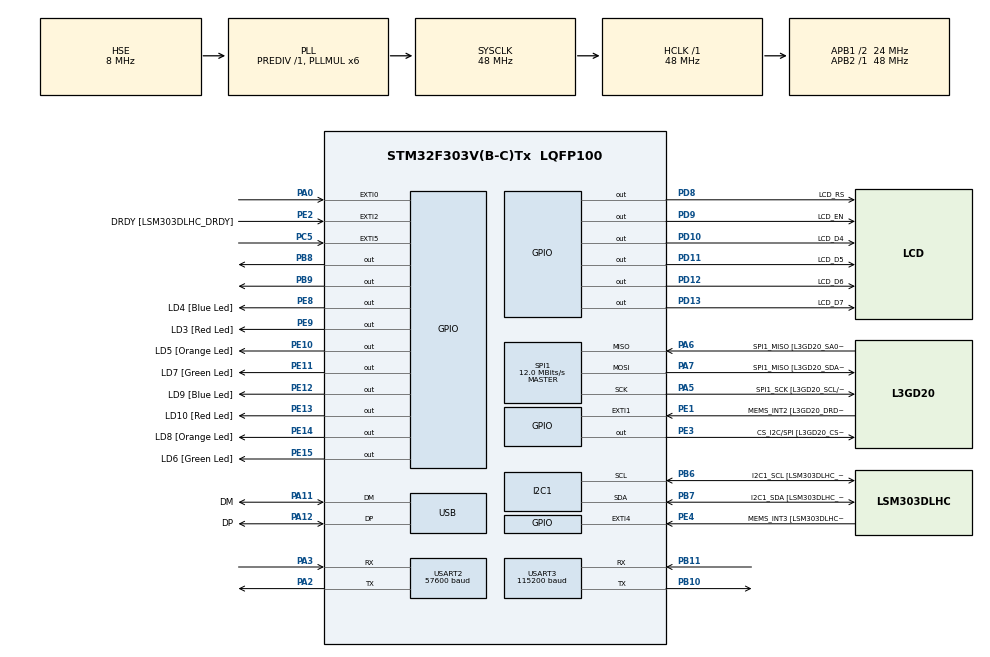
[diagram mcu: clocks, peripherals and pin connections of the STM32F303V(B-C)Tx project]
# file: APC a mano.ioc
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I2C1.Timing=0x00201D2B
I2C1.Timing-I2C=0x2000090E
Mcu.Family=STM32F3
Mcu.Name=STM32F303V(B-C)Tx
Mcu.Package=LQFP100
NVIC.EXTI0_IRQn=true\:0\:0\:false\:false\:true\:true\:true\:true
NVIC.EXTI9_5_IRQn=true\:0\:0\:false\:false\:true\:true\:true\:true
NVIC.PriorityGroup=NVIC_PRIORITYGROUP_0
NVIC.USART2_IRQn=true\:0\:0\:false\:false\:true\:true\:true\:true
NVIC.USART3_IRQn=true\:0\:0\:false\:false\:true\:true\:true\:true
PA0.GPIO_ModeDefaultEXTI=GPIO_MODE_IT_RISING
PA0.Signal=GPXTI0
PA11.GPIO_Label=DM
PA11.Mode=Device
PA11.Signal=USB_DM
PA12.GPIO_Label=DP
PA12.Mode=Device
PA12.Signal=USB_DP
PA13.GPIO_Label=SWDIO
PA13.Mode=Serial_Wire
PA13.Signal=SYS_JTMS-SWDIO
PA14.GPIO_Label=SWCLK
PA14.Mode=Serial_Wire
PA14.Signal=SYS_JTCK-SWCLK
PA2.Mode=Asynchronous
PA2.Signal=USART2_TX
PA3.Mode=Asynchronous
PA3.Signal=USART2_RX
PA5.GPIO_Label=SPI1_SCK [L3GD20_SCL/SPC]
PA5.Mode=Full_Duplex_Master
PA5.Signal=SPI1_SCK
PA6.GPIO_Label=SPI1_MISO [L3GD20_SA0/SDO]
PA6.Mode=Full_Duplex_Master
PA6.Signal=SPI1_MISO
PA7.GPIO_Label=SPI1_MISO [L3GD20_SDA/SDI/SDO]
PA7.Mode=Full_Duplex_Master
PA7.Signal=SPI1_MOSI
PB10.Mode=Asynchronous
PB10.Signal=USART3_TX
PB11.Mode=Asynchronous
PB11.Signal=USART3_RX
PB3.GPIO_Label=SWO
PB3.Signal=SYS_JTDO-TRACESWO
PB6.GPIO_Label=I2C1_SCL [LSM303DLHC_SCL]
PB6.GPIO_Pu=GPIO_PULLUP
PB6.Mode=I2C
PB6.Signal=I2C1_SCL
PB7.GPIO_Label=I2C1_SDA [LSM303DLHC_SDA]
PB7.GPIO_Pu=GPIO_PULLUP
PB7.Mode=I2C
PB7.Signal=I2C1_SDA
PB8.Signal=GPIO_Output
PB9.Signal=GPIO_Output
PC14-OSC32_IN.GPIO_Label=OSC32_IN
PC14-OSC32_IN.Signal=RCC_OSC32_IN
PC15-OSC32_OUT.GPIO_Label=OSC32_OUT
PC15-OSC32_OUT.Signal=RCC_OSC32_OUT
PC5.GPIO_ModeDefaultEXTI=GPIO_MODE_IT_RISING
PC5.GPIO_PuPd=GPIO_PULLDOWN
PC5.Signal=GPXTI5
PD10.GPIO_Label=LCD_D4
PD10.Signal=GPIO_Output
PD11.GPIO_Label=LCD_D5
PD11.Signal=GPIO_Output
PD12.GPIO_Label=LCD_D6
PD12.Signal=GPIO_Output
PD13.GPIO_Label=LCD_D7
PD13.Signal=GPIO_Output
PD8.GPIO_Label=LCD_RS
PD8.Signal=GPIO_Output
PD9.GPIO_Label=LCD_EN
PD9.Signal=GPIO_Output
PE1.GPIO_Label=MEMS_INT2 [L3GD20_DRDY/INT2]
PE1.GPIO_ModeDefaultEXTI=GPIO_MODE_EVT_RISING
PE1.Signal=GPXTI1
PE10.GPIO_Label=LD5 [Orange Led]
PE10.Signal=GPIO_Output
PE11.GPIO_Label=LD7 [Green Led]
PE11.Signal=GPIO_Output
PE12.GPIO_Label=LD9 [Blue Led]
PE12.Signal=GPIO_Output
PE13.GPIO_Label=LD10 [Red Led]
PE13.Signal=GPIO_Output
PE14.GPIO_Label=LD8 [Orange Led]
PE14.Signal=GPIO_Output
PE15.GPIO_Label=LD6 [Green Led]
PE15.Signal=GPIO_Output
PE2.GPIO_Label=DRDY [LSM303DLHC_DRDY]
PE2.GPIO_ModeDefaultEXTI=GPIO_MODE_EVT_RISING
PE2.Signal=GPXTI2
PE3.GPIO_Label=CS_I2C/SPI [L3GD20_CS_I2C/SPI]
PE3.Signal=GPIO_Output
PE4.GPIO_Label=MEMS_INT3 [LSM303DLHC_INT1]
PE4.GPIO_ModeDefaultEXTI=GPIO_MODE_EVT_RISING
PE4.Signal=GPXTI4
PE8.GPIO_Label=LD4 [Blue Led]
PE8.Signal=GPIO_Output
PE9.GPIO_Label=LD3 [Red Led]
PE9.Signal=GPIO_Output
PF0-OSC_IN.GPIO_Label=OSC_IN
PF0-OSC_IN.Mode=HSE-External-Clock-Source
PF0-OSC_IN.Signal=RCC_OSC_IN
PF1-OSC_OUT.GPIO_Label=OSC_OUT
PF1-OSC_OUT.Signal=RCC_OSC_OUT
ProjectManager.HeapSize=0x200
ProjectManager.StackSize=0x400
ProjectManager.TargetToolchain=STM32CubeIDE
RCC.AHBFreq_Value=48000000
RCC.APB1CLKDivider=RCC_HCLK_DIV2
RCC.APB1Freq_Value=24000000
RCC.APB1TimFreq_Value=48000000
RCC.APB2Freq_Value=48000000
RCC.APB2TimFreq_Value=48000000
RCC.CortexFreq_Value=48000000
RCC.HCLKFreq_Value=48000000
RCC.HSE_VALUE=8000000
RCC.HSI_VALUE=8000000
RCC.LSE_VALUE=32768
RCC.PLLMUL=RCC_PLL_MUL6
RCC.SYSCLKFreq_VALUE=48000000
RCC.SYSCLKSourceVirtual=RCC_SYSCLKSOURCE_PLLCLK
RCC.USBFreq_Value=48000000
SPI1.BaudRatePrescaler=SPI_BAUDRATEPRESCALER_4
SPI1.BaudRatePrescaler-Full_Duplex_Master=SPI_BAUDRATEPRESCALER_2
SPI1.CalculateBaudRate=12.0 MBits/s
SPI1.CalculateBaudRate-Full_Duplex_Master=24.0 MBits/s
SPI1.Direction=SPI_DIRECTION_2LINES
SPI1.Mode=SPI_MODE_MASTER
SPI1.Mode-Full_Duplex_Master=SPI_MODE_MASTER
SPI1.VirtualType=VM_MASTER
USART2.BaudRate=57600
USART2.VirtualMode-Asynchronous=VM_ASYNC
USART3.BaudRate=115200
USART3.VirtualMode-Asynchronous=VM_ASYNC
board=STM32F3DISCOVERY

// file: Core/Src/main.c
/* USER CODE BEGIN Header */
/**
  ******************************************************************************
  * @file    main.c
  * @brief   Smart Lock — STM32F3Discovery
  *          AS608  : USART2  PA2=TX  PA3=RX   57600 baud + EXTI5 su PC5
  *          ESP32  : USART3  PB10=TX PB11=RX 115200 baud (ricezione IT)
  *          LCD    : 4-bit parallelo GPIOD  PD8=RS PD9=EN PD10-PD13=D4-D7
  *          Buzzer : PB8
  *          Serratura: PB9 — HIGH=aperto (2 s) LOW=chiuso
  *          LED    : LD7 verde (PE11) · LD3 rosso (PE9)
  ******************************************************************************
  * Copyright (c) 2026 STMicroelectronics. All rights reserved.
  * This software is licensed under terms found in the LICENSE file.
  ******************************************************************************
  */
/* USER CODE END Header */

#include "main.h"

/* USER CODE BEGIN Includes */
#include "lcd.h"      /* driver LCD 4-bit parallelo GPIOD */
#include "as608.h"    /* driver lettore impronta AS608    */
#include <string.h>
#include <stdio.h>
/* USER CODE END Includes */

/* USER CODE BEGIN PTD */
typedef enum {
    S_STANDBY,      /* attesa eventi: TCH (PC5) o pulsante (PA0) */
    S_IDENTIFY,     /* scansione impronta con AS608               */
    S_WAIT_ESP,     /* attesa risposta AUTH_RESULT da ESP32       */
    S_RESULT_OK,    /* accesso concesso — LED verde + buzz lungo  */
    S_RESULT_FAIL,  /* accesso negato   — LED rosso + 3 bip       */
    S_ENROLL,       /* registrazione guidata nuova impronta       */
} AppState;
/* USER CODE END PTD */

I2C_HandleTypeDef hi2c1;
SPI_HandleTypeDef hspi1;
UART_HandleTypeDef huart2;
UART_HandleTypeDef huart3;
PCD_HandleTypeDef hpcd_USB_FS;

/* USER CODE BEGIN PV */

static AppState appState = S_STANDBY;

/* ── Flag interrupt ─────────────────────────────────────────────────────────
 * Scritti nelle ISR (HAL_GPIO_EXTI_Callback), letti nel loop principale.
 * Dichiarati volatile per impedire ottimizzazioni del compilatore.         */
static volatile uint8_t flagFinger = 0;   /* PC5 TCH — dito rilevato       */
static volatile uint8_t flagButton = 0;   /* PA0     — pulsante blu premuto */

/* ── UART3 ricezione asincrona (ESP32 → STM32) ─────────────────────────── */
#define RX3_LEN   64
static uint8_t          rx3Byte;               /* buffer singolo byte IT     */
static char             rx3Buf[RX3_LEN];       /* riga accumulata            */
static uint8_t          rx3Idx   = 0;          /* indice di scrittura        */
static volatile uint8_t rx3Ready = 0;          /* flag: riga completa pronta */
static uint32_t         espTimer = 0;          /* timestamp avvio timeout    */

/* ── Ultimo ID identificato ─────────────────────────────────────────────── */
static uint8_t lastFid = 0;

/* ── Macro LED e Buzzer ─────────────────────────────────────────────────── */
#define LED_GREEN   LD7_Pin      /* PE11 — LD7 verde  */
#define LED_RED     LD3_Pin      /* PE9  — LD3 rosso  */
#define LED_PORT    GPIOE
#define BUZ_PIN     GPIO_PIN_8   /* PB8               */
#define BUZ_PORT    GPIOB
#define LOCK_PIN    GPIO_PIN_9   /* PB9 — serratura   */
#define LOCK_PORT   GPIOB        /* HIGH=aperto LOW=chiuso */

/* USER CODE END PV */

void SystemClock_Config(void);
static void MX_GPIO_Init(void);
static void MX_I2C1_Init(void);
static void MX_SPI1_Init(void);
static void MX_USB_PCD_Init(void);
static void MX_USART2_UART_Init(void);
static void MX_USART3_UART_Init(void);

/* USER CODE BEGIN PFP */
static void LED_Set(uint16_t pin, uint8_t on);
static void LED_OffAll(void);
static void Buzz(uint32_t ms);
static void BuzzBoot(void);
static void BuzzOK(void);
static void BuzzFail(void);
static void BuzzConfirm(void);
static void ShowLCD(const char* l1, const char* l2);
static void SendESP(const char* msg);
static void RunEnroll(void);
/* USER CODE END PFP */

/* USER CODE BEGIN 0 */

/* ── Callback EXTI ─────────────────────────────────────────────────────────
 * Gestisce i rising-edge di PC5 (TCH) e PA0 (pulsante).
 * Setta solo il flag — nessuna logica applicativa nell'ISR.                */
void HAL_GPIO_EXTI_Callback(uint16_t GPIO_Pin) {
    if (GPIO_Pin == GPIO_PIN_5) flagFinger = 1;   /* TCH AS608     */
    if (GPIO_Pin == GPIO_PIN_0) flagButton = 1;   /* pulsante PA0  */
}

/* ── Callback UART3 (ESP32 → STM32) ────────────────────────────────────────
 * Riceve un byte alla volta e assembla la riga fino a '\n'.
 * rx3Ready = 1 segnala che rx3Buf contiene una riga completa.
 * La callback si riarma immediatamente dopo ogni byte.                     */
void HAL_UART_RxCpltCallback(UART_HandleTypeDef* h) {
    if (h->Instance == USART3) {
        char c = (char)rx3Byte;
        if (c == '\n') {
            rx3Buf[rx3Idx] = '\0';
            if (rx3Idx > 0) rx3Ready = 1;
            rx3Idx = 0;
        } else if (c != '\r' && rx3Idx < RX3_LEN - 1) {
            rx3Buf[rx3Idx++] = c;
        }
        HAL_UART_Receive_IT(&huart3, &rx3Byte, 1);
    }
}

/* ── Primitivi LED e Buzzer ─────────────────────────────────────────────── */

static void LED_Set(uint16_t pin, uint8_t on) {
    HAL_GPIO_WritePin(LED_PORT, pin, on ? GPIO_PIN_SET : GPIO_PIN_RESET);
}
static void LED_OffAll(void) {
    LED_Set(LED_GREEN, 0);
    LED_Set(LED_RED,   0);
}
static void Buzz(uint32_t ms) {
    HAL_GPIO_WritePin(BUZ_PORT, BUZ_PIN, GPIO_PIN_SET);
    HAL_Delay(ms);
    HAL_GPIO_WritePin(BUZ_PORT, BUZ_PIN, GPIO_PIN_RESET);
}

/* Pattern buzzer:
 *   BuzzBoot    — 1 bip medio (200 ms)     : sistema pronto
 *   BuzzOK      — 1 bip lungo (500 ms)     : accesso concesso
 *   BuzzFail    — 3 bip rapidi (100 ms)    : accesso negato / errore
 *   BuzzConfirm — 1 bip breve (80 ms)      : conferma acquisizione immagine */
static void BuzzBoot(void)    { Buzz(200); }
static void BuzzOK(void)      { Buzz(500); }
static void BuzzFail(void)    { Buzz(100); HAL_Delay(80); Buzz(100); HAL_Delay(80); Buzz(100); }
static void BuzzConfirm(void) { Buzz(80);  }

/* ── Serratura ──────────────────────────────────────────────────────────── */
static void Lock_Open(void)  { HAL_GPIO_WritePin(LOCK_PORT, LOCK_PIN, GPIO_PIN_SET);   }
static void Lock_Close(void) { HAL_GPIO_WritePin(LOCK_PORT, LOCK_PIN, GPIO_PIN_RESET); }

/* ── Helper LCD ─────────────────────────────────────────────────────────── */
static void ShowLCD(const char* l1, const char* l2) {
    LCD_Clear();
    LCD_SetCursor(0, 0); LCD_Print(l1);
    LCD_SetCursor(0, 1); LCD_Print(l2);
}

/* ── Helper UART3 (invio verso ESP32) ──────────────────────────────────── */
static void SendESP(const char* msg) {
    char buf[80];
    uint16_t n = (uint16_t)snprintf(buf, sizeof(buf), "%s\r\n", msg);
    HAL_UART_Transmit(&huart3, (uint8_t*)buf, n, 1000);
}

/* ────────────────────────────────────────────────────────────────────────────
 * RunEnroll — procedura guidata di registrazione impronta
 *
 * Cerca prima il primo slot libero tramite AS608_FindFreeSlot(), che usa
 * LoadChar per sondare la libreria senza affidarsi a un contatore RAM.
 * Parte da slot 1 per evitare ID 0 non gestito dall'ESP32.
 *
 * Flusso:
 *   FindFreeSlot → GetImage → GenChar(1) → [dito tolto]
 *   → GetImage → GenChar(2) → RegModel → StoreChar(slot)
 * ───────────────────────────────────────────────────────────────────────── */
static void RunEnroll(void) {

    /* ── Cerca il primo slot libero nella libreria AS608 ── */
    ShowLCD("Ricerca slot.. ", "               ");
    int8_t freeSlot = AS608_FindFreeSlot();

    if (freeSlot < 0) {
        ShowLCD("DB Pieno!      ", "Max 127 impr.  ");
        BuzzFail();
        HAL_Delay(2000);
        return;
    }

    uint8_t  slot = (uint8_t)freeSlot;
    char     line[17];
    uint32_t t0;

    /* ── Passo 1: prima acquisizione ──────────────────────── */
    ShowLCD("Nuova Impronta ", "Appoggia dito  ");

    t0 = HAL_GetTick();
    while (!AS608_IsFingerPresent()) {
        if (HAL_GetTick() - t0 > 10000) goto enroll_timeout;
        HAL_Delay(100);
    }
    if (AS608_GetImage()               != AS608_OK) goto enroll_error;
    if (AS608_GenChar(AS608_CHARBUF_1) != AS608_OK) goto enroll_error;
    BuzzConfirm();

    /* ── Passo 2: rimozione dito ──────────────────────────── */
    ShowLCD("Togli il dito  ", "               ");
    while (AS608_IsFingerPresent()) HAL_Delay(100);
    HAL_Delay(500);   /* debounce meccanico */

    /* ── Passo 3: seconda acquisizione ───────────────────── */
    ShowLCD("Appoggia        ", "di nuovo       ");

    t0 = HAL_GetTick();
    while (!AS608_IsFingerPresent()) {
        if (HAL_GetTick() - t0 > 10000) goto enroll_timeout;
        HAL_Delay(100);
    }
    if (AS608_GetImage()               != AS608_OK) goto enroll_error;
    if (AS608_GenChar(AS608_CHARBUF_2) != AS608_OK) goto enroll_error;
    BuzzConfirm();

    /* ── Passo 4: genera modello e salva ─────────────────── */
    if (AS608_RegModel()      != AS608_OK) goto enroll_error;
    if (AS608_StoreChar(slot) != AS608_OK) goto enroll_error;

    /* ── Successo ─────────────────────────────────────────── */
    snprintf(line, sizeof(line), "Salvata ID: %d  ", slot);
    ShowLCD("Impronta OK!   ", line);
    BuzzOK();
    HAL_Delay(2000);
    return;

enroll_error:
    ShowLCD("Errore Registr.", "               ");
    BuzzFail();
    HAL_Delay(2000);
    return;

enroll_timeout:
    ShowLCD("Timeout        ", "Operaz. annull.");
    BuzzFail();
    HAL_Delay(2000);
}

/* USER CODE END 0 */

/* ============================================================================
 * main() — entry point
 * ========================================================================== */
int main(void)
{

  HAL_Init();

  SystemClock_Config();

  /* Inizializzazione periferiche generate da CubeMX */
  MX_GPIO_Init();
  MX_I2C1_Init();
  MX_SPI1_Init();
  MX_USB_PCD_Init();
  MX_USART2_UART_Init();
  MX_USART3_UART_Init();

  /* USER CODE BEGIN 2 */

  LCD_Init();
  AS608_Init(&huart2);

  /* ══════════════════════════════════════════════════════
   * SEQUENZA DI BOOT
   * ══════════════════════════════════════════════════════ */

  /* 1. Controllo reset hardware ─────────────────────────
   * Legge PA0 direttamente dopo MX_GPIO_Init().
   * Se il pulsante è tenuto premuto all'accensione, azzera
   * l'intera libreria biometrica dell'AS608.
   *
   * Strategia doppia:
   *   a) Prova EmptyDB (comando bulk rapido)
   *   b) Se LoadChar su slot 0 o 1 risponde ancora OK,
   *      EmptyDB non ha funzionato → cancella slot 0-127
   *      uno per uno con DeleteChar (fallback sicuro).    */
  if (HAL_GPIO_ReadPin(GPIOA, GPIO_PIN_0) == GPIO_PIN_SET) {

      HAL_Delay(200);
      ShowLCD("Reset Database ", "In corso...    ");

      /* Handshake obbligatorio prima di qualsiasi comando */
      if (AS608_VerifyPassword() != AS608_OK) {
          ShowLCD("Errore Sensore ", "Reset annullato");
          BuzzFail();
          HAL_Delay(2000);
          goto boot_continue;
      }

      /* Tentativo 1: EmptyDB bulk */
      AS608_EmptyDB();
      HAL_Delay(1500);

      /* Verifica effettiva: slot 0 e slot 1 devono essere vuoti */
      uint8_t slot0_occupied = (AS608_LoadChar(AS608_CHARBUF_2, 0) == AS608_OK);
      uint8_t slot1_occupied = (AS608_LoadChar(AS608_CHARBUF_2, 1) == AS608_OK);

      if (slot0_occupied || slot1_occupied) {
          /* EmptyDB non ha funzionato — fallback: DeleteChar slot per slot */
          ShowLCD("Pulizia manuale", "Attendere...   ");
          uint8_t errCount = 0;
          for (uint8_t i = 0; i <= 127; i++) {
              /* Cancella solo se lo slot è occupato */
              if (AS608_LoadChar(AS608_CHARBUF_2, i) == AS608_OK) {
                  if (AS608_DeleteChar(i) != AS608_OK) errCount++;
              }
              HAL_Delay(50);
          }

          /* Verifica finale dopo cancellazione manuale */
          if (AS608_LoadChar(AS608_CHARBUF_2, 1) != AS608_OK) {
              ShowLCD("Database       ", "Azzerato!      ");
              Buzz(500);
          } else {
              ShowLCD("Errore Reset   ", "Riprovare      ");
              BuzzFail();
          }
      } else {
          /* EmptyDB ha funzionato */
          ShowLCD("Database       ", "Azzerato!      ");
          Buzz(500);
      }

      HAL_Delay(2000);
  }

boot_continue:

  /* 2. Splash screen ──────────────────────────────────── */
  ShowLCD("   Magic Box   ", " Progetto APC  ");
  BuzzBoot();
  HAL_Delay(1500);

  /* 3. Self-test sensore ────────────────────────────────
   * Handshake obbligatorio con l'AS608 tramite VFY_PWD.
   * In caso di fallimento il sistema si blocca: senza
   * sensore funzionante non ha senso proseguire.         */
  ShowLCD("Init sensore...", "               ");
  if (AS608_VerifyPassword() != AS608_OK) {
      ShowLCD("Errore Sensore ", "Sistema fermo  ");
      BuzzFail();
      while (1);   /* halt bloccante */
  }

  /* 4. Avvio ricezione asincrona ESP32 + notifica boot ── */
  HAL_UART_Receive_IT(&huart3, &rx3Byte, 1);
  SendESP("BOOT:SYSTEM_OK");

  appState = S_STANDBY;

  /* USER CODE END 2 */

  /* ══════════════════════════════════════════════════════
   * LOOP PRINCIPALE — macchina a stati
   * ══════════════════════════════════════════════════════ */
  /* USER CODE BEGIN WHILE */
  while (1)
  {
    switch (appState) {

    /* ── S_STANDBY ─────────────────────────────────────────
     * Stato di riposo. Mostra la schermata principale e rimane
     * in spin-wait finché uno dei due interrupt non arriva.
     * flagButton ha priorità: se entrambi scattano insieme
     * si avvia l'enrollment, non l'identificazione.          */
    case S_STANDBY:
        ShowLCD("   Magic Box   ", "Attesa impronta");
        LED_OffAll();
        flagFinger = 0;
        flagButton = 0;

        while (!flagFinger && !flagButton) HAL_Delay(50);

        if (flagButton) {
            flagButton = 0;
            appState   = S_ENROLL;
        } else {
            flagFinger = 0;
            appState   = S_IDENTIFY;
        }
        break;

    /* ── S_IDENTIFY ────────────────────────────────────────
     * Chiede all'AS608 di scansionare e cercare il dito nella
     * sua libreria flash (ricerca 1:N autonoma).
     * Se trovato, invia l'ID all'ESP32 per la verifica nel
     * database relazionale (nome, ruolo, permessi).
     *
     * CRITICO: rx3Ready e rx3Idx vengono azzerati PRIMA di
     * SendESP — se la risposta arriva durante ShowLCD (che
     * chiama HAL_Delay internamente), l'ISR setta rx3Ready=1
     * e il dato rimane valido. Azzerarlo dopo SendESP lo
     * cancellerebbe silenziosamente (race condition).        */
    case S_IDENTIFY: {
        ShowLCD("  Scansione... ", "               ");

        uint8_t  fid   = 0;
        uint16_t score = 0;
        AS608_Result r = AS608_IdentifyFinger(&fid, &score);

        if (r == AS608_OK) {
            lastFid = fid;
            char req[32];
            snprintf(req, sizeof(req), "AUTH_REQUEST:%d", fid);

            /* Pulisci buffer PRIMA di inviare la richiesta */
            rx3Ready = 0;
            rx3Idx   = 0;

            SendESP(req);
            ShowLCD("Verifica...    ", "               ");
            espTimer = HAL_GetTick();
            appState = S_WAIT_ESP;
        } else if (r == AS608_ERR_TIMEOUT) {
            /* AS608 non risponde alla UART */
            SendESP("ERR:AS608_TIMEOUT");
            appState = S_RESULT_FAIL;
        } else {
            /* no-match (0x09), immagine sfocata (0x03), ecc. */
            SendESP("ALERT:UNKNOWN_FINGER");
            appState = S_RESULT_FAIL;
        }
        break;
    }

    /* ── S_WAIT_ESP ────────────────────────────────────────
     * Attende la risposta dell'ESP32 entro 5 secondi.
     * Messaggio atteso: "AUTH_RESULT:<id>:GRANTED|DENIED"
     *
     * IMPORTANTE: il timeout è else-if — se rx3Ready è già
     * true nel medesimo ciclo il timeout non sovrascrive
     * il risultato (race condition fix).                   */
    case S_WAIT_ESP:
        if (rx3Ready) {
            rx3Ready = 0;
            appState = strstr(rx3Buf, "GRANTED") ? S_RESULT_OK
                                                  : S_RESULT_FAIL;
        } else if (HAL_GetTick() - espTimer > 10000) {
            SendESP("ERR:ESP32_TIMEOUT");
            appState = S_RESULT_FAIL;
        }
        HAL_Delay(50);
        break;

    /* ── S_RESULT_OK ───────────────────────────────────────
     * Accesso concesso. LED verde fisso per 2 s + bip lungo.
     * PB9 → HIGH (serratura aperta) per 2 s, poi LOW (chiusa). */
    case S_RESULT_OK: {
        char line2[17];
        snprintf(line2, sizeof(line2), "ID: %d           ", lastFid);
        ShowLCD("Accesso OK!    ", line2);
        LED_Set(LED_GREEN, 1);
        BuzzOK();
        Lock_Open();            /* PB9 HIGH — serratura aperta  */
        HAL_Delay(2000);
        Lock_Close();           /* PB9 LOW  — serratura chiusa  */
        LED_OffAll();
        appState = S_STANDBY;
        break;
    }

    /* ── S_RESULT_FAIL ─────────────────────────────────────
     * Accesso negato. LED rosso fisso per 2 s + 3 bip rapidi. */
    case S_RESULT_FAIL:
        ShowLCD("Accesso Negato ", "               ");
        LED_Set(LED_RED, 1);
        BuzzFail();
        HAL_Delay(2000);
        LED_OffAll();
        appState = S_STANDBY;
        break;

    /* ── S_ENROLL ──────────────────────────────────────────
     * Registrazione guidata di una nuova impronta.
     * La logica è in RunEnroll() per mantenere il switch
     * leggibile. Dopo il ritorno torna sempre a S_STANDBY. */
    case S_ENROLL:
        RunEnroll();
        appState = S_STANDBY;
        break;

    } /* end switch */

    /* USER CODE END WHILE */
  }
}

void SystemClock_Config(void)
{
  RCC_OscInitTypeDef RCC_OscInitStruct = {0};
  RCC_ClkInitTypeDef RCC_ClkInitStruct = {0};
  RCC_PeriphCLKInitTypeDef PeriphClkInit = {0};

  RCC_OscInitStruct.OscillatorType = RCC_OSCILLATORTYPE_HSI|RCC_OSCILLATORTYPE_HSE;
  RCC_OscInitStruct.HSEState = RCC_HSE_BYPASS;
  RCC_OscInitStruct.HSEPredivValue = RCC_HSE_PREDIV_DIV1;
  RCC_OscInitStruct.HSIState = RCC_HSI_ON;
  RCC_OscInitStruct.HSICalibrationValue = RCC_HSICALIBRATION_DEFAULT;
  RCC_OscInitStruct.PLL.PLLState = RCC_PLL_ON;
  RCC_OscInitStruct.PLL.PLLSource = RCC_PLLSOURCE_HSE;
  RCC_OscInitStruct.PLL.PLLMUL = RCC_PLL_MUL6;
  if (HAL_RCC_OscConfig(&RCC_OscInitStruct) != HAL_OK) Error_Handler();

  RCC_ClkInitStruct.ClockType = RCC_CLOCKTYPE_HCLK|RCC_CLOCKTYPE_SYSCLK
                              |RCC_CLOCKTYPE_PCLK1|RCC_CLOCKTYPE_PCLK2;
  RCC_ClkInitStruct.SYSCLKSource = RCC_SYSCLKSOURCE_PLLCLK;
  RCC_ClkInitStruct.AHBCLKDivider = RCC_SYSCLK_DIV1;
  RCC_ClkInitStruct.APB1CLKDivider = RCC_HCLK_DIV2;
  RCC_ClkInitStruct.APB2CLKDivider = RCC_HCLK_DIV1;
  if (HAL_RCC_ClockConfig(&RCC_ClkInitStruct, FLASH_LATENCY_1) != HAL_OK) Error_Handler();

  PeriphClkInit.PeriphClockSelection = RCC_PERIPHCLK_USB|RCC_PERIPHCLK_USART2
                              |RCC_PERIPHCLK_USART3|RCC_PERIPHCLK_I2C1;
  PeriphClkInit.Usart2ClockSelection = RCC_USART2CLKSOURCE_PCLK1;
  PeriphClkInit.Usart3ClockSelection = RCC_USART3CLKSOURCE_PCLK1;
  PeriphClkInit.I2c1ClockSelection = RCC_I2C1CLKSOURCE_HSI;
  PeriphClkInit.USBClockSelection = RCC_USBCLKSOURCE_PLL;
  if (HAL_RCCEx_PeriphCLKConfig(&PeriphClkInit) != HAL_OK) Error_Handler();
}

/* Funzioni di inizializzazione periferiche (generate da CubeMX) ------------ */

static void MX_I2C1_Init(void)
{
  hi2c1.Instance = I2C1;
  hi2c1.Init.Timing = 0x00201D2B;
  hi2c1.Init.OwnAddress1 = 0;
  hi2c1.Init.AddressingMode = I2C_ADDRESSINGMODE_7BIT;
  hi2c1.Init.DualAddressMode = I2C_DUALADDRESS_DISABLE;
  hi2c1.Init.OwnAddress2 = 0;
  hi2c1.Init.OwnAddress2Masks = I2C_OA2_NOMASK;
  hi2c1.Init.GeneralCallMode = I2C_GENERALCALL_DISABLE;
  hi2c1.Init.NoStretchMode = I2C_NOSTRETCH_DISABLE;
  if (HAL_I2C_Init(&hi2c1) != HAL_OK) Error_Handler();
  if (HAL_I2CEx_ConfigAnalogFilter(&hi2c1, I2C_ANALOGFILTER_ENABLE) != HAL_OK) Error_Handler();
  if (HAL_I2CEx_ConfigDigitalFilter(&hi2c1, 0) != HAL_OK) Error_Handler();
}

static void MX_SPI1_Init(void)
{
  hspi1.Instance = SPI1;
  hspi1.Init.Mode = SPI_MODE_MASTER;
  hspi1.Init.Direction = SPI_DIRECTION_2LINES;
  hspi1.Init.DataSize = SPI_DATASIZE_4BIT;
  hspi1.Init.CLKPolarity = SPI_POLARITY_LOW;
  hspi1.Init.CLKPhase = SPI_PHASE_1EDGE;
  hspi1.Init.NSS = SPI_NSS_SOFT;
  hspi1.Init.BaudRatePrescaler = SPI_BAUDRATEPRESCALER_4;
  hspi1.Init.FirstBit = SPI_FIRSTBIT_MSB;
  hspi1.Init.TIMode = SPI_TIMODE_DISABLE;
  hspi1.Init.CRCCalculation = SPI_CRCCALCULATION_DISABLE;
  hspi1.Init.CRCPolynomial = 7;
  hspi1.Init.CRCLength = SPI_CRC_LENGTH_DATASIZE;
  hspi1.Init.NSSPMode = SPI_NSS_PULSE_ENABLE;
  if (HAL_SPI_Init(&hspi1) != HAL_OK) Error_Handler();
}

static void MX_USART2_UART_Init(void)
{
  huart2.Instance = USART2;
  huart2.Init.BaudRate = 57600;
  huart2.Init.WordLength = UART_WORDLENGTH_8B;
  huart2.Init.StopBits = UART_STOPBITS_1;
  huart2.Init.Parity = UART_PARITY_NONE;
  huart2.Init.Mode = UART_MODE_TX_RX;
  huart2.Init.HwFlowCtl = UART_HWCONTROL_NONE;
  huart2.Init.OverSampling = UART_OVERSAMPLING_16;
  huart2.Init.OneBitSampling = UART_ONE_BIT_SAMPLE_DISABLE;
  huart2.AdvancedInit.AdvFeatureInit = UART_ADVFEATURE_NO_INIT;
  if (HAL_UART_Init(&huart2) != HAL_OK) Error_Handler();
}

static void MX_USART3_UART_Init(void)
{
  huart3.Instance = USART3;
  huart3.Init.BaudRate = 115200;
  huart3.Init.WordLength = UART_WORDLENGTH_8B;
  huart3.Init.StopBits = UART_STOPBITS_1;
  huart3.Init.Parity = UART_PARITY_NONE;
  huart3.Init.Mode = UART_MODE_TX_RX;
  huart3.Init.HwFlowCtl = UART_HWCONTROL_NONE;
  huart3.Init.OverSampling = UART_OVERSAMPLING_16;
  huart3.Init.OneBitSampling = UART_ONE_BIT_SAMPLE_DISABLE;
  huart3.AdvancedInit.AdvFeatureInit = UART_ADVFEATURE_NO_INIT;
  if (HAL_UART_Init(&huart3) != HAL_OK) Error_Handler();
}

static void MX_USB_PCD_Init(void)
{
  hpcd_USB_FS.Instance = USB;
  hpcd_USB_FS.Init.dev_endpoints = 8;
  hpcd_USB_FS.Init.speed = PCD_SPEED_FULL;
  hpcd_USB_FS.Init.phy_itface = PCD_PHY_EMBEDDED;
  hpcd_USB_FS.Init.low_power_enable = DISABLE;
  hpcd_USB_FS.Init.battery_charging_enable = DISABLE;
  if (HAL_PCD_Init(&hpcd_USB_FS) != HAL_OK) Error_Handler();
}

static void MX_GPIO_Init(void)
{
  GPIO_InitTypeDef GPIO_InitStruct = {0};

  __HAL_RCC_GPIOE_CLK_ENABLE();
  __HAL_RCC_GPIOC_CLK_ENABLE();
  __HAL_RCC_GPIOF_CLK_ENABLE();
  __HAL_RCC_GPIOA_CLK_ENABLE();
  __HAL_RCC_GPIOB_CLK_ENABLE();
  __HAL_RCC_GPIOD_CLK_ENABLE();

  HAL_GPIO_WritePin(GPIOE, CS_I2C_SPI_Pin|LD4_Pin|LD3_Pin|LD5_Pin
                          |LD7_Pin|LD9_Pin|LD10_Pin|LD8_Pin|LD6_Pin, GPIO_PIN_RESET);
  HAL_GPIO_WritePin(GPIOD, LCD_RS_Pin|LCD_EN_Pin|LCD_D4_Pin|LCD_D5_Pin
                          |LCD_D6_Pin|LCD_D7_Pin, GPIO_PIN_RESET);
  HAL_GPIO_WritePin(GPIOB, GPIO_PIN_8 | GPIO_PIN_9, GPIO_PIN_RESET);

  GPIO_InitStruct.Pin = DRDY_Pin|MEMS_INT3_Pin|MEMS_INT2_Pin;
  GPIO_InitStruct.Mode = GPIO_MODE_EVT_RISING;
  GPIO_InitStruct.Pull = GPIO_NOPULL;
  HAL_GPIO_Init(GPIOE, &GPIO_InitStruct);

  GPIO_InitStruct.Pin = CS_I2C_SPI_Pin|LD4_Pin|LD3_Pin|LD5_Pin
                          |LD7_Pin|LD9_Pin|LD10_Pin|LD8_Pin|LD6_Pin;
  GPIO_InitStruct.Mode = GPIO_MODE_OUTPUT_PP;
  GPIO_InitStruct.Pull = GPIO_NOPULL;
  GPIO_InitStruct.Speed = GPIO_SPEED_FREQ_LOW;
  HAL_GPIO_Init(GPIOE, &GPIO_InitStruct);

  GPIO_InitStruct.Pin = GPIO_PIN_0;
  GPIO_InitStruct.Mode = GPIO_MODE_IT_RISING;
  GPIO_InitStruct.Pull = GPIO_NOPULL;
  HAL_GPIO_Init(GPIOA, &GPIO_InitStruct);

  GPIO_InitStruct.Pin = GPIO_PIN_5;
  GPIO_InitStruct.Mode = GPIO_MODE_IT_RISING;
  GPIO_InitStruct.Pull = GPIO_PULLDOWN;
  HAL_GPIO_Init(GPIOC, &GPIO_InitStruct);

  GPIO_InitStruct.Pin = LCD_RS_Pin|LCD_EN_Pin|LCD_D4_Pin|LCD_D5_Pin
                          |LCD_D6_Pin|LCD_D7_Pin;
  GPIO_InitStruct.Mode = GPIO_MODE_OUTPUT_PP;
  GPIO_InitStruct.Pull = GPIO_NOPULL;
  GPIO_InitStruct.Speed = GPIO_SPEED_FREQ_LOW;
  HAL_GPIO_Init(GPIOD, &GPIO_InitStruct);

  GPIO_InitStruct.Pin = GPIO_PIN_8 | GPIO_PIN_9;  /* Buzzer PB8 · Serratura PB9 */
  GPIO_InitStruct.Mode = GPIO_MODE_OUTPUT_PP;
  GPIO_InitStruct.Pull = GPIO_NOPULL;
  GPIO_InitStruct.Speed = GPIO_SPEED_FREQ_LOW;
  HAL_GPIO_Init(GPIOB, &GPIO_InitStruct);

  HAL_NVIC_SetPriority(EXTI0_IRQn, 0, 0);
  HAL_NVIC_EnableIRQ(EXTI0_IRQn);
  HAL_NVIC_SetPriority(EXTI9_5_IRQn, 0, 0);
  HAL_NVIC_EnableIRQ(EXTI9_5_IRQn);
}

void Error_Handler(void)
{
  __disable_irq();
  while (1) {}
}
